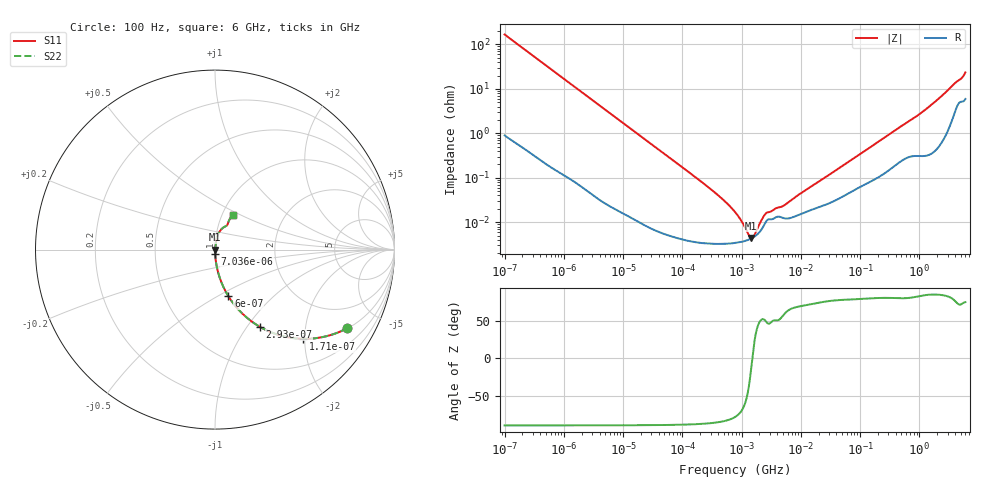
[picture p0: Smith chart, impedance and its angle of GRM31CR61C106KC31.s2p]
!Murata Part Number: GRM31CR61C106KC31
!These Parameters are Measured in Series Mode Connection
!Data Generated on Mar 30, 2021
!  o--ll--o
!Port1  Port2
!  o------o
!Operation Temp=25[degC], DC Bias Voltage=0[V]
!Freq. Start=100[Hz] Stop=6[GHz] 401[Steps]
# Hz S RI R 50
!Freq.(Hz) S11(Real) S11(Imag) S21(Real) S21(Imag) S12(Real) S12(Imag) S22(Real) S22(Imag)
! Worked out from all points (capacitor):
!   401 points, 100 Hz to 6 GHz, reference 50 ohm
!   read as one part in series: C = 9.47 uF near 109 Hz
!   lowest |Z| = 4.41 mohm at 1.45 MHz (marker M1)
!   S11 on the Smith chart (normalised r, x): 100 Hz: 1.02, -3.36; 171 Hz: 1.01, -1.97; 293 Hz: 1.01, -1.15; 600 Hz: 1.00, -0.56; 7.036 kHz: 1.00, -0.05; 6 GHz: 1.12, +0.46
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100  0.7369 -0.4376  0.2631 0.4376  0.2631 0.4376  0.7369 -0.4376
171  0.4913 -0.4971  0.5087 0.4971  0.5087 0.4971  0.4913 -0.4971
293  0.2499 -0.4301  0.7501 0.4301  0.7501 0.4301  0.2499 -0.4301
419  0.141 -0.345  0.859 0.345  0.859 0.345  0.141 -0.345
600  0.0749 -0.2602  0.9251 0.2602  0.9251 0.2602  0.0749 -0.2602
1073  0.0253 -0.1536  0.9747 0.1536  0.9747 0.1536  0.0253 -0.1536
2008  0.00771 -0.0839  0.9923 0.0839  0.9923 0.0839  0.00771 -0.0839
7036  0.00079 -0.0242  0.9992 0.0242  0.9992 0.0242  0.00079 -0.0242
40335  7.83e-05 -0.00427  0.9999 0.00427  0.9999 0.00427  7.83e-05 -0.00427
330837  3.29e-05 -0.0005  1 0.0005  1 0.0005  3.29e-05 -0.0005
541393  3.28e-05 -0.000281  1 0.000281  1 0.000281  3.28e-05 -0.000281
774597  3.41e-05 -0.000167  1 0.000167  1 0.000167  3.41e-05 -0.000167
1059725  3.68e-05 -8.48e-05  1 8.48e-05  1 8.48e-05  3.68e-05 -8.48e-05
1449809  4.28e-05 -1.05e-05  1 1.05e-05  1 1.05e-05  4.28e-05 -1.05e-05
1983483  5.87e-05 6.52e-05  0.9999 -6.52e-05  0.9999 -6.52e-05  5.87e-05 6.52e-05
2713602  0.000112 0.000122  0.9999 -0.000122  0.9999 -0.000122  0.000112 0.000122
5311619  0.000122 0.000209  0.9999 -0.000209  0.9999 -0.000209  0.000122 0.000209
1.555665e7  0.000192 0.000626  0.9998 -0.000626  0.9998 -0.000626  0.000192 0.000626
3.124326e8  0.00159 0.00947  0.9984 -0.00947  0.9984 -0.00947  0.00159 0.00947
1.197065e9  0.00409 0.0318  0.9959 -0.0318  0.9959 -0.0318  0.00409 0.0318
3.065283e9  0.02 0.091  0.98 -0.091  0.98 -0.091  0.02 0.091
6e9  0.0977 0.1938  0.9023 -0.1938  0.9023 -0.1938  0.0977 0.1938
